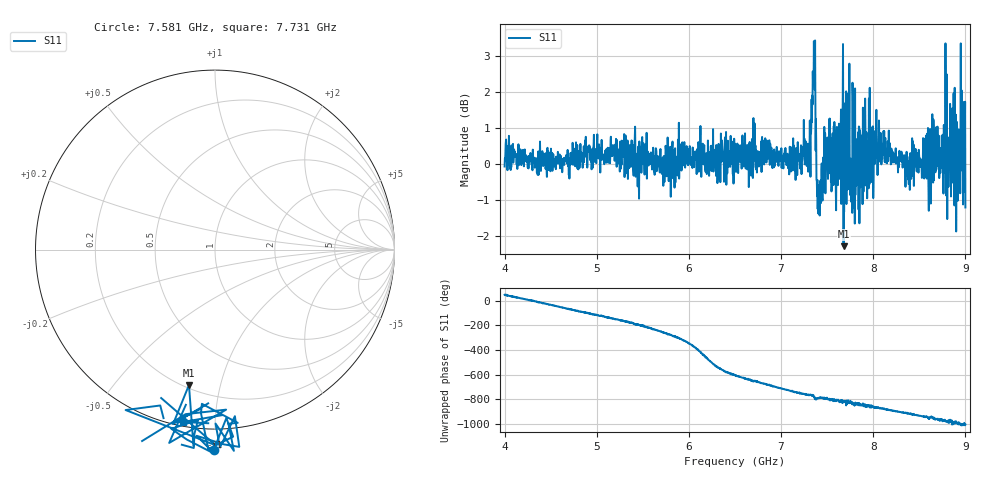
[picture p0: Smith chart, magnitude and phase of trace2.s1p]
! Created with skrf 1.8.0 (http://scikit-rf.org).
# Hz S RI R 50.0
!freq ReS11 ImS11
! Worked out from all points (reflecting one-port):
!   1601 points, 4 GHz to 9 GHz, reference 50 ohm
!   lowest |S11| = -2.3 dB at 7.678 GHz (marker M1), VSWR 7.64, Z = 10.9 - j40.1 ohm
!   phase of S11 starts at 48 deg and turns -1052 deg over the sweep
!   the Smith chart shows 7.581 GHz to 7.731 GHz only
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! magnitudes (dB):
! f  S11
! 4 GHz  -0.1
! 4.625 GHz  -0.2
! 5.25 GHz  -0.2
! 5.875 GHz  0.1
! 6.5 GHz  -0.2
! 7.125 GHz  0.3
! 7.294 GHz  -0.2
! 7.347 GHz  2.2
! 7.369 GHz  3.4
! 7.397 GHz  -1.2
! 7.409 GHz  -0.6
! 7.509 GHz  -0.4
! 7.591 GHz  0.9
! 7.65 GHz  1.5
! 7.678 GHz  -2.3
! 7.75 GHz  -0.9
! 7.775 GHz  2.3
! 7.8 GHz  -1.7
! 8.038 GHz  0.4
! 8.375 GHz  -0.1
! 8.569 GHz  -0.4
! 8.625 GHz  -1.1
! 8.666 GHz  0.7
! 8.738 GHz  0.4
! 8.775 GHz  1.1
! 8.919 GHz  -0.7
! 8.972 GHz  0.3
! 9 GHz  -1.2
